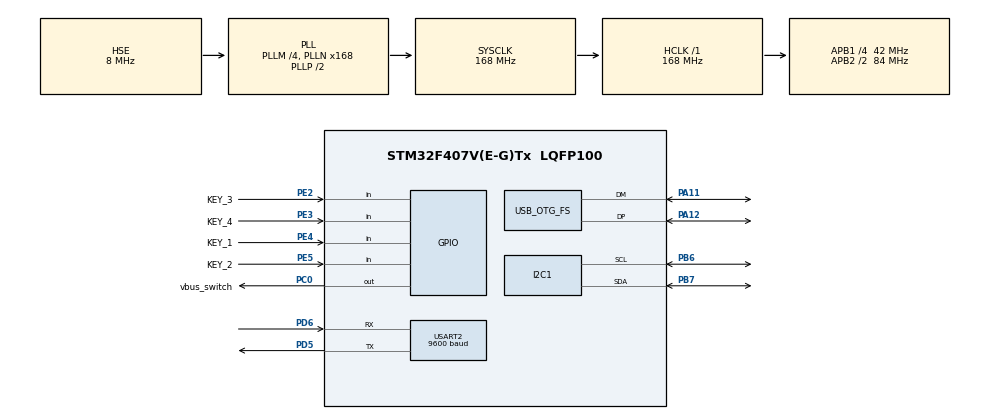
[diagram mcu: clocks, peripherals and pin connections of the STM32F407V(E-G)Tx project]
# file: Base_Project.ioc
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Dma.Request0=USART2_TX
Dma.USART2_TX.0.Direction=DMA_MEMORY_TO_PERIPH
Dma.USART2_TX.0.FIFOMode=DMA_FIFOMODE_DISABLE
Dma.USART2_TX.0.Instance=DMA1_Stream6
Dma.USART2_TX.0.MemDataAlignment=DMA_MDATAALIGN_BYTE
Dma.USART2_TX.0.MemInc=DMA_MINC_ENABLE
Dma.USART2_TX.0.Mode=DMA_NORMAL
Dma.USART2_TX.0.PeriphDataAlignment=DMA_PDATAALIGN_BYTE
Dma.USART2_TX.0.PeriphInc=DMA_PINC_DISABLE
Dma.USART2_TX.0.Priority=DMA_PRIORITY_MEDIUM
I2C1.I2C_Mode=I2C_Fast
Mcu.Family=STM32F4
Mcu.Name=STM32F407V(E-G)Tx
Mcu.Package=LQFP100
NVIC.DMA1_Stream6_IRQn=true\:0\:0\:false\:false\:true\:false\:true\:true
NVIC.OTG_FS_IRQn=true\:0\:0\:false\:false\:true\:false\:true\:true
NVIC.PriorityGroup=NVIC_PRIORITYGROUP_4
NVIC.TIM6_DAC_IRQn=true\:0\:0\:false\:false\:true\:true\:true\:true
NVIC.USART2_IRQn=true\:0\:0\:false\:false\:true\:true\:true\:true
PA11.Mode=Host_Only
PA11.Signal=USB_OTG_FS_DM
PA12.Mode=Host_Only
PA12.Signal=USB_OTG_FS_DP
PA13.Mode=Serial_Wire
PA13.Signal=SYS_JTMS-SWDIO
PA14.Mode=Serial_Wire
PA14.Signal=SYS_JTCK-SWCLK
PB6.Mode=I2C
PB6.Signal=I2C1_SCL
PB7.Mode=I2C
PB7.Signal=I2C1_SDA
PC0.GPIO_Label=vbus_switch
PC0.Signal=GPIO_Output
PC14-OSC32_IN.Mode=LSE-External-Oscillator
PC14-OSC32_IN.Signal=RCC_OSC32_IN
PC15-OSC32_OUT.Mode=LSE-External-Oscillator
PC15-OSC32_OUT.Signal=RCC_OSC32_OUT
PD5.Mode=Asynchronous
PD5.Signal=USART2_TX
PD6.Mode=Asynchronous
PD6.Signal=USART2_RX
PE2.GPIO_Label=KEY_3
PE2.GPIO_PuPd=GPIO_PULLUP
PE2.Signal=GPIO_Input
PE3.GPIO_Label=KEY_4
PE3.GPIO_PuPd=GPIO_PULLUP
PE3.Signal=GPIO_Input
PE4.GPIO_Label=KEY_1
PE4.GPIO_PuPd=GPIO_PULLUP
PE4.Signal=GPIO_Input
PE5.GPIO_Label=KEY_2
PE5.GPIO_PuPd=GPIO_PULLUP
PE5.Signal=GPIO_Input
PH0-OSC_IN.Mode=HSE-External-Oscillator
PH0-OSC_IN.Signal=RCC_OSC_IN
PH1-OSC_OUT.Mode=HSE-External-Oscillator
PH1-OSC_OUT.Signal=RCC_OSC_OUT
ProjectManager.HeapSize=0x200
ProjectManager.StackSize=0x400
ProjectManager.TargetToolchain=MDK-ARM V5.32
RCC.48MHZClocksFreq_Value=48000000
RCC.AHBFreq_Value=168000000
RCC.APB1CLKDivider=RCC_HCLK_DIV4
RCC.APB1Freq_Value=42000000
RCC.APB1TimFreq_Value=84000000
RCC.APB2CLKDivider=RCC_HCLK_DIV2
RCC.APB2Freq_Value=84000000
RCC.APB2TimFreq_Value=168000000
RCC.CortexFreq_Value=168000000
RCC.HCLKFreq_Value=168000000
RCC.HSE_VALUE=8000000
RCC.HSI_VALUE=16000000
RCC.PLLM=4
RCC.PLLN=168
RCC.PLLQ=7
RCC.SYSCLKFreq_VALUE=168000000
RCC.SYSCLKSource=RCC_SYSCLKSOURCE_PLLCLK
RCC.VCOOutputFreq_Value=336000000
TIM6.AutoReloadPreload=TIM_AUTORELOAD_PRELOAD_ENABLE
TIM6.Period=999
TIM6.Prescaler=167
USART2.BaudRate=9600
USART2.VirtualMode=VM_ASYNC
USB_HOST.BSP.number=1
USB_HOST.USBH_HandleTypeDef-HID_FS=hUsbHostFS
USB_HOST.USBH_MAX_NUM_ENDPOINTS-HID_FS=6
USB_HOST.USBH_MAX_NUM_INTERFACES-HID_FS=10
USB_HOST.USBH_MAX_SIZE_CONFIGURATION-HID_FS=512
USB_HOST.VirtualModeFS=Hid
USB_HOST0.BSP.STBoard=false
USB_HOST0.BSP.api=Unknown
USB_HOST0.BSP.condition=SW_VBUS_DRIVE_HID_FS \= false
USB_HOST0.BSP.instance=PC0
USB_HOST0.BSP.ip=GPIO
USB_HOST0.BSP.mode=Output
USB_HOST0.BSP.name=Drive_VBUS_FS
USB_HOST0.BSP.solution=PC0
USB_OTG_FS.VirtualMode=Host_Only
USB_OTG_FS.phy_itface=HCD_PHY_EMBEDDED
VP_TIM6_VS_ClockSourceINT.Mode=Enable_Timer
VP_USB_HOST_VS_USB_HOST_HID_FS.Mode=HID_FS
board=custom

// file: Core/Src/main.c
/* USER CODE BEGIN Header */
/**
  ******************************************************************************
  * @file           : main.c
  * @brief          : Main program body
  ******************************************************************************
  */
/* USER CODE END Header */
#include "main.h"
#include "dma.h"
#include "i2c.h"
#include "tim.h"
#include "usart.h"
#include "usb_host.h"
#include "gpio.h"

/* USER CODE BEGIN Includes */
#include "OLED.h"
#include "Serial.h"
#include "key.h"
#include "xbox.h"
/* USER CODE END Includes */

/* USER CODE BEGIN PV */
uint16_t KeyNum;

// USB 句柄
extern USBH_HandleTypeDef hUsbHostFS;
extern ApplicationTypeDef Appli_state;

/* USER CODE END PV */

void SystemClock_Config(void);
void MX_USB_HOST_Process(void);

/* USER CODE BEGIN 0 */
uint32_t last_print_time = 0;
/* USER CODE END 0 */

int main(void)
{

  /* MCU Configuration--------------------------------------------------------*/

  /* Reset of all peripherals, Initializes the Flash interface and the Systick. */
  HAL_Init();

  /* Configure the system clock */
  SystemClock_Config();

  /* Initialize all configured peripherals */
  MX_GPIO_Init();
  MX_DMA_Init();
  MX_USART2_UART_Init();
  MX_I2C1_Init();
  MX_TIM6_Init();

  // 1. 恢复：使用 CubeMX 生成的初始化函数
  // 我们将修改 usb_host.c 来注册 Xbox 驱动，而不是在这里手动写
  MX_USB_HOST_Init();

  /* USER CODE BEGIN 2 */
  HAL_UART_Receive_IT(&huart2, &RxByte2, 1);
  HAL_TIM_Base_Start_IT(&htim6);
  OLED_Init();
  OLED_Clear();
  OLED_ShowString(0,0,"Xbox Host Mode",OLED_8X16);
  OLED_Update();

  Serial2_Printf("System Started. Debugging Mode Enabled...\r\n");
  /* USER CODE END 2 */

  /* Infinite loop */
  /* USER CODE BEGIN WHILE */
  while (1)
  {
	  KeyNum = Key_GetNum();
	  OLED_ShowNum(40,0,KeyNum,3,OLED_6X8);
	  OLED_Update();

      // USB 核心处理
      MX_USB_HOST_Process();

      // 业务逻辑：只有连接成功后才执行
	  if (Appli_state == APPLICATION_READY) {

        // 从驱动获取数据
        XBOX_Report_t *data = USBH_XBOX_GetReport(&hUsbHostFS);

        if (data != NULL && (HAL_GetTick() - last_print_time > 200)) {
            // 打印数据
            Serial2_Printf("LX:%d, LY:%d, RT:%d, LT:%d\r\n",
                   data->LeftStickX,
                   data->LeftStickY,
                   data->RightTrigger,
                   data->LeftTrigger);

            if (data->Buttons.bits.A) {
                Serial2_Printf("Button A!\r\n");
            }

            last_print_time = HAL_GetTick();
        }
      }
    /* USER CODE END WHILE */

  }
}

void SystemClock_Config(void)
{
  RCC_OscInitTypeDef RCC_OscInitStruct = {0};
  RCC_ClkInitTypeDef RCC_ClkInitStruct = {0};

  /** Configure the main internal regulator output voltage
  */
  __HAL_RCC_PWR_CLK_ENABLE();
  __HAL_PWR_VOLTAGESCALING_CONFIG(PWR_REGULATOR_VOLTAGE_SCALE1);

  /** Initializes the RCC Oscillators according to the specified parameters
  * in the RCC_OscInitTypeDef structure.
  */
  RCC_OscInitStruct.OscillatorType = RCC_OSCILLATORTYPE_HSE;
  RCC_OscInitStruct.HSEState = RCC_HSE_ON;
  RCC_OscInitStruct.PLL.PLLState = RCC_PLL_ON;
  RCC_OscInitStruct.PLL.PLLSource = RCC_PLLSOURCE_HSE;
  RCC_OscInitStruct.PLL.PLLM = 4;
  RCC_OscInitStruct.PLL.PLLN = 168;
  RCC_OscInitStruct.PLL.PLLP = RCC_PLLP_DIV2;
  RCC_OscInitStruct.PLL.PLLQ = 7;
  if (HAL_RCC_OscConfig(&RCC_OscInitStruct) != HAL_OK)
  {
    Error_Handler();
  }

  /** Initializes the CPU, AHB and APB buses clocks
  */
  RCC_ClkInitStruct.ClockType = RCC_CLOCKTYPE_HCLK|RCC_CLOCKTYPE_SYSCLK
                              |RCC_CLOCKTYPE_PCLK1|RCC_CLOCKTYPE_PCLK2;
  RCC_ClkInitStruct.SYSCLKSource = RCC_SYSCLKSOURCE_PLLCLK;
  RCC_ClkInitStruct.AHBCLKDivider = RCC_SYSCLK_DIV1;
  RCC_ClkInitStruct.APB1CLKDivider = RCC_HCLK_DIV4;
  RCC_ClkInitStruct.APB2CLKDivider = RCC_HCLK_DIV2;

  if (HAL_RCC_ClockConfig(&RCC_ClkInitStruct, FLASH_LATENCY_5) != HAL_OK)
  {
    Error_Handler();
  }
}

/* USER CODE BEGIN 4 */
void HAL_TIM_PeriodElapsedCallback(TIM_HandleTypeDef *htim)
{
	static uint16_t count;
    if (htim->Instance == TIM6)
    {
		Key_Tick();
		count++;
		if (count>=10){
			count = 0;

		}
    }
}
/*==========================================================
 * 中断回调主入口
 *==========================================================*/
void HAL_UART_RxCpltCallback(UART_HandleTypeDef *huart)
{
    if (huart == &huart2)
    {
        Serial2_RxHandler();
    }
}
/* USER CODE END 4 */

void Error_Handler(void)
{
  __disable_irq();
  while (1)
  {
  }
}
